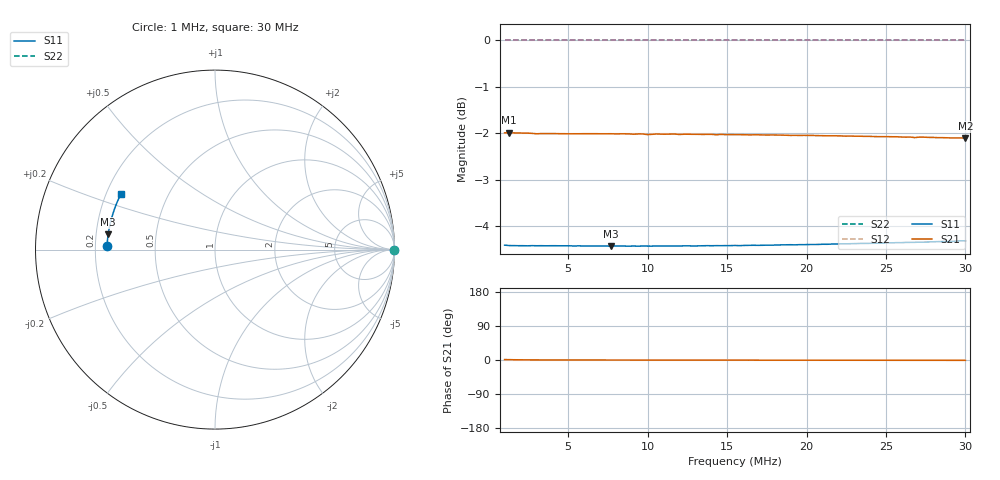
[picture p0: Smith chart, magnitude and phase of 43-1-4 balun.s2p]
! File created by NanoVNA MOD v3.0 by alex_m https://www.rtl-sdr.com/forum/viewtopic.php?f=4&t=4881
! Start 1000000Hz  Stop 30000000Hz  Points 101
# Hz S MA R 50
! S - Parameter data, F S11 S21 (S12 and S22 are invalid)
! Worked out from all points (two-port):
!   101 points, 1 MHz to 30 MHz, reference 50 ohm
!   highest |S21| = -1.98 dB at 1.29 MHz (marker M1); lowest = -2.1 dB at 30 MHz (marker M2)
!   |S21| within 3 dB of the highest: start of sweep to end of sweep
!   lowest |S11| = -4.4 dB at 7.67 MHz (marker M3), VSWR 4.01, Z = 12.5 + j3.36 ohm
!   |S11| at or under -10 dB: nowhere
!   |S22| runs from 0.0 to 0.0 dB; largest |S21 - S12| = 0.22
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1000000  0.6024 178.1  0.7955 1.2  1 0.0  1 0.0
1290000  0.6018 178.0  0.7958 0.9  1 0.0  1 0.0
1870000  0.6016 177.6  0.7953 0.5  1 0.0  1 0.0
2450000  0.6014 177.1  0.795 0.3  1 0.0  1 0.0
3030000  0.6015 176.5  0.7936 0.2  1 0.0  1 0.0
4190000  0.6015 175.4  0.794 0.1  1 0.0  1 0.0
5930000  0.6012 173.6  0.7938 0.0  1 0.0  1 0.0
7670000  0.6009 171.8  0.7938 -0.1  1 0.0  1 0.0
9120000  0.601 170.3  0.7928 -0.1  1 0.0  1 0.0
9700000  0.6011 169.7  0.7933 -0.2  1 0.0  1 0.0
9990000  0.601 169.4  0.7921 -0.2  1 0.0  1 0.0
1.057e7  0.6012 168.8  0.7933 -0.2  1 0.0  1 0.0
1.086e7  0.6011 168.6  0.7929 -0.2  1 0.0  1 0.0
1.55e7  0.6019 163.9  0.7919 -0.4  1 0.0  1 0.0
1.898e7  0.6031 160.4  0.7905 -0.5  1 0.0  1 0.0
2.043e7  0.6034 158.9  0.7904 -0.5  1 0.0  1 0.0
2.333e7  0.6049 156.0  0.7889 -0.6  1 0.0  1 0.0
2.536e7  0.6057 154.0  0.7879 -0.7  1 0.0  1 0.0
2.652e7  0.6066 152.9  0.7873 -0.7  1 0.0  1 0.0
2.681e7  0.6066 152.6  0.7863 -0.8  1 0.0  1 0.0
2.739e7  0.607 152.0  0.7871 -0.8  1 0.0  1 0.0
3e7  0.6087 149.5  0.7852 -0.9  1 0.0  1 0.0
